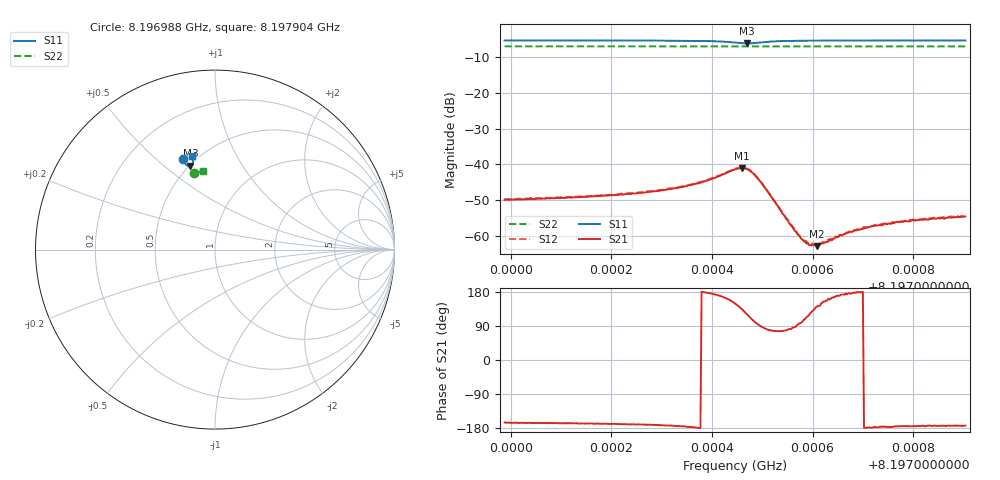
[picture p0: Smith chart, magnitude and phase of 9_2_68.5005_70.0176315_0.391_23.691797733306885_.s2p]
#  HZ  S  RI  R  50.00
! Rohde & Schwarz Vector Network Analyzer
! Rohde-Schwarz,ZNB20-2Port,1311601062101988,3.16
! Created: UTC 3/20/2024, 4:48:56 PM
! freq[Hz]  re:S11  im:S11  re:S21  im:S21  re:S12  im:S12  re:S22  im:S22
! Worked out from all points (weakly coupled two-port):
!   401 points, 8.196988 GHz to 8.197904 GHz, reference 50 ohm
!   highest |S21| = -41.05 dB at 8.197459 GHz (marker M1); lowest = -62.8 dB at 8.197608 GHz (marker M2)
!   lowest |S11| = -6.3 dB at 8.197469 GHz (marker M3), VSWR 2.90, Z = 25.2 + j30.9 ohm
!   |S11| at or under -10 dB: nowhere
!   |S22| runs from -7.1 to -7.1 dB; largest |S21 - S12| = 0.00043
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8.1969879e9  -0.18 0.5049  -0.00309 -0.000839  -0.00319 -0.000684  -0.1151 0.4288
8.1971413e9  -0.1679 0.5085  -0.00342 -0.000741  -0.0035 -0.000613  -0.1068 0.4307
8.197242e9  -0.1586 0.5106  -0.00384 -0.000701  -0.00395 -0.000516  -0.1012 0.4317
8.1972947e9  -0.1526 0.5113  -0.00421 -0.000627  -0.00438 -0.000432  -0.0982 0.4324
8.1973748e9  -0.1395 0.5101  -0.00548 -4.67e-05  -0.00562 0.000167  -0.0935 0.4332
8.1974458e9  -0.1226 0.4854  -0.00729 0.00435  -0.00726 0.00472  -0.0893 0.4331
8.1974595e9  -0.1284 0.4729  -0.00616 0.00638  -0.006 0.00673  -0.089 0.433
8.1974686e9  -0.1372 0.467  -0.00454 0.00736  -0.00432 0.00765  -0.0887 0.4328
8.1974824e9  -0.1532 0.4676  -0.00176 0.00721  -0.00151 0.0074  -0.0883 0.4331
8.1974961e9  -0.1635 0.4762  2.6e-06 0.00575  0.000277 0.00585  -0.0879 0.4336
8.1975602e9  -0.1608 0.5045  9.71e-05 0.00131  0.000166 0.00133  -0.0842 0.4348
8.1975762e9  -0.1582 0.5069  -0.000123 0.000931  -9.03e-05 0.000958  -0.0833 0.435
8.1975877e9  -0.1565 0.5084  -0.000302 0.000721  -0.000298 0.000786  -0.0825 0.4353
8.1975991e9  -0.1547 0.5096  -0.000472 0.000592  -0.00044 0.000653  -0.0821 0.4352
8.1976083e9  -0.1535 0.5105  -0.000554 0.000461  -0.00054 0.00053  -0.0814 0.4355
8.1976266e9  -0.1512 0.5119  -0.000752 0.000319  -0.000792 0.000362  -0.0804 0.4355
8.1976678e9  -0.1465 0.514  -0.0011 0.000127  -0.0011 0.000149  -0.078 0.4359
8.1976976e9  -0.1435 0.5153  -0.00124 1.83e-05  -0.00128 7.6e-05  -0.0763 0.4363
8.1977204e9  -0.1413 0.5161  -0.00138 -5.27e-05  -0.00138 1.2e-06  -0.0751 0.4364
8.1977525e9  -0.1384 0.5169  -0.00149 -8.49e-05  -0.00153 -4.69e-05  -0.0733 0.4366
8.1977891e9  -0.1351 0.5181  -0.00158 -0.000136  -0.00166 -8.25e-05  -0.0713 0.4369
8.1979036e9  -0.1259 0.5205  -0.00187 -0.00022  -0.00189 -0.000163  -0.0647 0.4377
